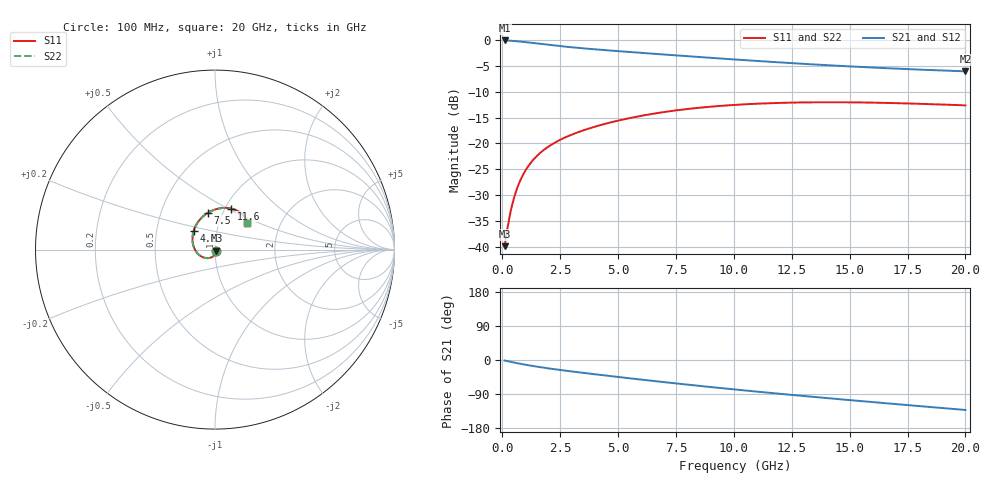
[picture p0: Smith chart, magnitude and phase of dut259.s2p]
! Touchstone file exported from HFSS 2023.1.0
!  File:  D:/Users/fzz/RDL_TSV/temp_RDL_TSV_259_1778760854.aedt
!  Generated:  8:23:10 %x4E0B%x5348  5%x6708 14, 2026
!  Design:  RDL_TSV
!  Project:  temp_RDL_TSV_259_1778760854
!  Setup:  Setup1
!  Solution:  Sweep
! Variables:
!  dtsv = 16.77um
!  hbump = 3um
!  htsv = 55.72um
!  ldown = 290.64um
!  lrdl = 221.07um
!  p = 40
!  p1 = 47.51um
!  rhole = 10um
!  subl = 1756.2um
!  t = 450um
!  tdown = 2.98um
!  trdl = 3um
!  viad = 10um
!  wdown = 25.11um
!  wrdl = 28.03um
!  xbump = 18um
# GHz S MA R 50.000000
! Terminal data exported
! Port[1] = TM1_1_T1
! Port[2] = TM1_4_T1
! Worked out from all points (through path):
!   200 points, 100 MHz to 20 GHz, reference 50 ohm
!   highest |S21| = -0.08 dB at 100 MHz (marker M1); lowest = -6.0 dB at 20 GHz (marker M2)
!   group delay of S21, straight-line fit = 17.3 ps
!   lowest |S11| = -39.9 dB at 100 MHz (marker M3), VSWR 1.02, Z = 50.8 - j0.601 ohm
!   |S11| at or under -10 dB: start of sweep to end of sweep
!   |S22| runs from -39.9 to -12.0 dB; largest |S21 - S12| = 5.7e-14
!   S11 on the Smith chart (normalised r, x): 100 MHz: 1.02, -0.01; 4.6 GHz: 0.77, +0.17; 7.5 GHz: 0.85, +0.36; 11.6 GHz: 1.06, +0.52; 20 GHz: 1.37, +0.43
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0.1  0.01017 -35.5  0.9908 -1.4  0.9908 -1.4  0.01017 -35.5
! Gamma 0 0 0 0
! Port Impedance 50 0 50 0
0.3  0.01891 -73.2  0.9867 -4.1  0.9867 -4.1  0.01891 -73.2
0.4  0.02414 -83.9  0.9835 -5.4  0.9835 -5.4  0.02414 -83.9
0.5  0.02947 -92.4  0.9796 -6.6  0.9796 -6.6  0.02947 -92.4
0.6  0.03477 -99.6  0.9753 -7.9  0.9753 -7.9  0.03477 -99.6
0.8  0.04505 -111.9  0.9655 -10.2  0.9655 -10.2  0.04504 -111.9
1.1  0.05931 -127.1  0.9491 -13.6  0.9491 -13.6  0.05931 -127.1
1.5  0.07599 -144.1  0.926 -17.6  0.926 -17.6  0.07598 -144.1
2  0.09357 -161.8  0.8981 -22.2  0.8981 -22.2  0.09354 -161.8
2.7  0.114 177.9  0.8638 -27.9  0.8638 -27.9  0.114 177.9
3.5  0.134 159.1  0.8312 -34.0  0.8312 -34.0  0.1339 159.1
4.6  0.1582 138.6  0.7936 -42.0  0.7936 -42.0  0.1581 138.6
5.7  0.1797 122.2  0.7604 -49.7  0.7604 -49.7  0.1796 122.2
6.8  0.1985 108.6  0.7296 -57.2  0.7296 -57.2  0.1983 108.6
7.5  0.2088 101.1  0.7109 -61.8  0.7109 -61.8  0.2086 101.1
8.7  0.2237 89.8  0.6804 -69.5  0.6804 -69.5  0.2234 89.8
10.1  0.2365 78.8  0.6474 -78.1  0.6474 -78.1  0.2362 78.8
11.6  0.2453 68.9  0.6154 -87.0  0.6154 -87.0  0.245 68.9
13.4  0.2501 59.3  0.5818 -97.1  0.5818 -97.1  0.2497 59.3
15  0.2499 52.4  0.5562 -105.8  0.5562 -105.8  0.2496 52.3
16.7  0.2464 46.5  0.5331 -114.8  0.5331 -114.8  0.2461 46.5
20  0.2336 39.2  0.4984 -131.9  0.4984 -131.9  0.2332 39.2
